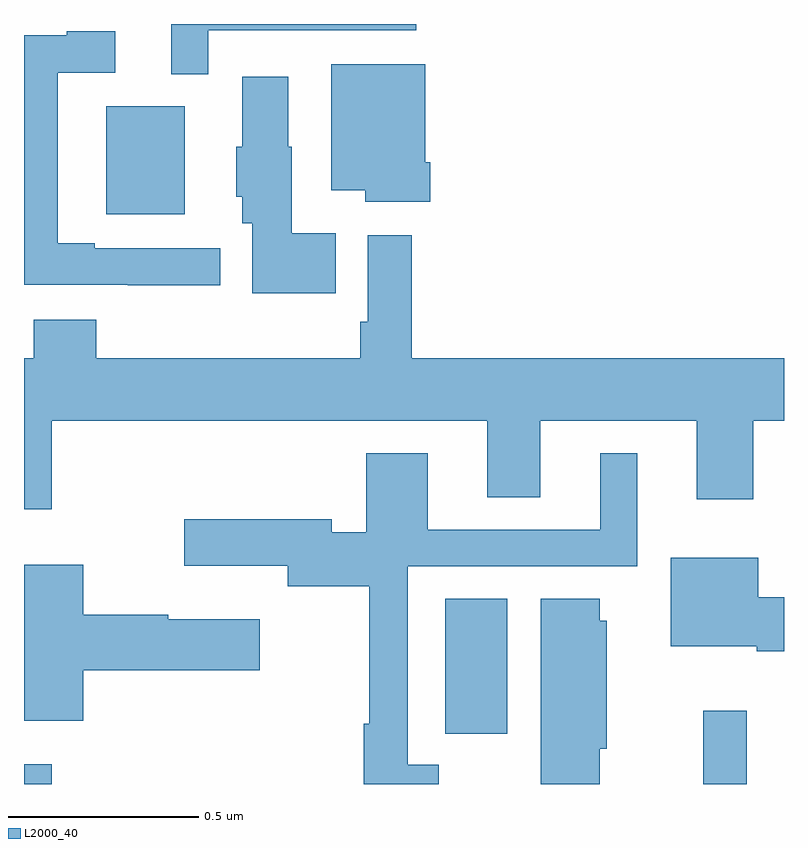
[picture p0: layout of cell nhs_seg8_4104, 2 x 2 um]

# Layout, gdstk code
import gdstk
lib = gdstk.Library(unit=1e-6, precision=1e-09)
def R(c, l, rs):  # rectangles x0, y0, x1, y1
    for r in rs: c.add(gdstk.rectangle(r[:2], r[2:], *l))
def P(c, l, *ps):  # polygons
    for p in ps: c.add(gdstk.Polygon(p, *l))
L2000_40 = (2000, 40)

nhs_seg8_4104 = lib.new_cell('nhs_seg8_4104')
R(nhs_seg8_4104, L2000_40, [(166,1092.9,166.073,1092.952), (167.788,1092.9,167.902,1093.093), (167.108,1093.032,167.272,1093.388), (166.217,1094.399,166.423,1094.683)])
P(nhs_seg8_4104, L2000_40, [(166.485,1094.883),(167.032,1094.883),(167.032,1094.9),(166.388,1094.9),(166.388,1094.768),(166.485,1094.768)],
  [(166.516,1094.31),(166.186,1094.31),(166.186,1094.323),(166.089,1094.323),(166.089,1094.772),(166.24,1094.772),(166.24,1094.881),(166.112,1094.881),(166.112,1094.87),(166,1094.87),(166,1094.214),(166.273,1094.214),(166.273,1094.213),(166.516,1094.213)],
  [(167.069,1094.536),(167.056,1094.536),(167.056,1094.794),(166.808,1094.794),(166.808,1094.462),(166.898,1094.462),(166.898,1094.432),(167.069,1094.432)],
  [(166.82,1094.35),(166.705,1094.35),(166.705,1094.577),(166.696,1094.577),(166.696,1094.761),(166.574,1094.761),(166.574,1094.577),(166.559,1094.577),(166.559,1094.445),(166.574,1094.445),(166.574,1094.376),(166.601,1094.376),(166.601,1094.192),(166.82,1094.192)],
  [(166.073,1093.856),(167.219,1093.856),(167.219,1093.654),(167.359,1093.654),(167.359,1093.856),(167.771,1093.856),(167.771,1093.65),(167.919,1093.65),(167.919,1093.856),(168,1093.856),(168,1094.02),(167.021,1094.02),(167.021,1094.344),(166.905,1094.344),(166.905,1094.116),(166.885,1094.116),(166.885,1094.02),(166.19,1094.02),(166.19,1094.122),(166.025,1094.122),(166.025,1094.02),(166,1094.02),(166,1093.623),(166.073,1093.623)],
  [(167.092,1092.951),(167.01,1092.951),(167.01,1093.473),(167.614,1093.473),(167.614,1093.771),(167.516,1093.771),(167.516,1093.569),(167.062,1093.569),(167.062,1093.771),(166.901,1093.771),(166.901,1093.563),(166.81,1093.563),(166.81,1093.597),(166.422,1093.597),(166.422,1093.475),(166.694,1093.475),(166.694,1093.421),(166.909,1093.421),(166.909,1093.058),(166.894,1093.058),(166.894,1092.9),(167.092,1092.9)],
  [(168,1093.392),(167.932,1093.392),(167.932,1093.495),(167.702,1093.495),(167.702,1093.262),(167.928,1093.262),(167.928,1093.25),(168,1093.25)],
  [(166.156,1093.199),(166.621,1093.199),(166.621,1093.333),(166.38,1093.333),(166.38,1093.346),(166.156,1093.346),(166.156,1093.477),(166,1093.477),(166,1093.067),(166.156,1093.067)],
  [(167.515,1092.993),(167.533,1092.993),(167.533,1093.329),(167.515,1093.329),(167.515,1093.388),(167.36,1093.388),(167.36,1092.9),(167.515,1092.9)])

lib.write_gds('nhs_seg8_4104.gds')
